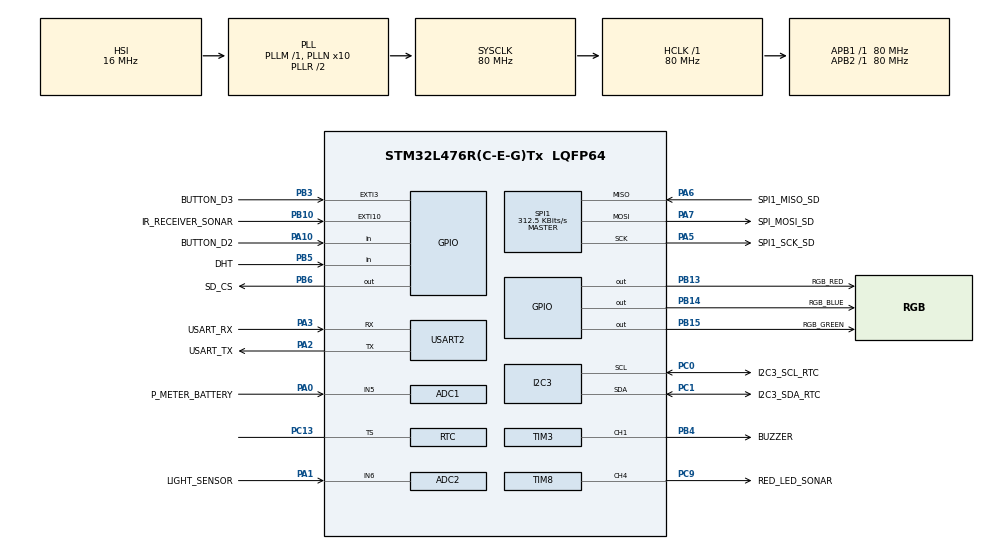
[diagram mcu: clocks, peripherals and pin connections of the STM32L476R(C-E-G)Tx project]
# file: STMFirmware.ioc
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ADC1.Channel-0\#ChannelRegularConversion=ADC_CHANNEL_5
ADC1.NbrOfConversionFlag=1
ADC1.OffsetNumber-0\#ChannelRegularConversion=ADC_OFFSET_NONE
ADC1.Rank-0\#ChannelRegularConversion=1
ADC1.SamplingTime-0\#ChannelRegularConversion=ADC_SAMPLETIME_2CYCLES_5
ADC1.master=1
ADC2.Channel-0\#ChannelRegularConversion=ADC_CHANNEL_6
ADC2.NbrOfConversionFlag=1
ADC2.OffsetNumber-0\#ChannelRegularConversion=ADC_OFFSET_NONE
ADC2.Rank-0\#ChannelRegularConversion=1
ADC2.Resolution=ADC_RESOLUTION_8B
ADC2.SamplingTime-0\#ChannelRegularConversion=ADC_SAMPLETIME_2CYCLES_5
FREERTOS.Tasks01=defaultTask,24,128,StartDefaultTask,Default,NULL,Dynamic,NULL,NULL
FREERTOS.configTOTAL_HEAP_SIZE=28000
I2C3.Timing=0x10D19CE4
IWDG.Prescaler=IWDG_PRESCALER_32
Mcu.Family=STM32L4
Mcu.Name=STM32L476R(C-E-G)Tx
Mcu.Package=LQFP64
NVIC.EXTI15_10_IRQn=true\:5\:0\:false\:false\:true\:true\:true\:true\:true
NVIC.EXTI3_IRQn=true\:5\:0\:false\:false\:true\:true\:true\:true\:true
NVIC.PriorityGroup=NVIC_PRIORITYGROUP_4
NVIC.TIM3_IRQn=true\:5\:0\:false\:false\:true\:true\:true\:true\:true
NVIC.TIM5_IRQn=true\:5\:0\:false\:false\:true\:true\:true\:true\:true
NVIC.USART2_IRQn=true\:5\:0\:false\:false\:true\:true\:true\:true\:true
PA0.GPIO_Label=P_METER_BATTERY
PA0.Signal=ADCx_IN5
PA1.GPIO_Label=LIGHT_SENSOR
PA1.Signal=ADCx_IN6
PA10.GPIO_Label=BUTTON_D2
PA10.Signal=GPIO_Input
PA13\ (JTMS-SWDIO).GPIO_Label=TMS
PA13\ (JTMS-SWDIO).Mode=Serial_Wire
PA13\ (JTMS-SWDIO).Signal=SYS_JTMS-SWDIO
PA14\ (JTCK-SWCLK).GPIO_Label=TCK
PA14\ (JTCK-SWCLK).Mode=Serial_Wire
PA14\ (JTCK-SWCLK).Signal=SYS_JTCK-SWCLK
PA2.GPIO_Label=USART_TX
PA2.GPIO_Mode=GPIO_MODE_AF_PP
PA2.GPIO_PuPd=GPIO_NOPULL
PA2.GPIO_Speed=GPIO_SPEED_FREQ_VERY_HIGH
PA2.Mode=Asynchronous
PA2.Signal=USART2_TX
PA3.GPIO_Label=USART_RX
PA3.GPIO_Mode=GPIO_MODE_AF_PP
PA3.GPIO_PuPd=GPIO_NOPULL
PA3.GPIO_Speed=GPIO_SPEED_FREQ_VERY_HIGH
PA3.Mode=Asynchronous
PA3.Signal=USART2_RX
PA5.GPIO_Label=SPI1_SCK_SD
PA5.GPIO_Speed=GPIO_SPEED_FREQ_VERY_HIGH
PA5.Mode=Full_Duplex_Master
PA5.Signal=SPI1_SCK
PA6.GPIO_Label=SPI1_MISO_SD
PA6.GPIO_PuPd=GPIO_PULLUP
PA6.GPIO_Speed=GPIO_SPEED_FREQ_VERY_HIGH
PA6.Mode=Full_Duplex_Master
PA6.Signal=SPI1_MISO
PA7.GPIO_Label=SPI_MOSI_SD
PA7.GPIO_Speed=GPIO_SPEED_FREQ_VERY_HIGH
PA7.Mode=Full_Duplex_Master
PA7.Signal=SPI1_MOSI
PB10.GPIO_Label=IR_RECEIVER_SONAR
PB10.GPIO_ModeDefaultEXTI=GPIO_MODE_IT_RISING_FALLING
PB10.Signal=GPXTI10
PB13.GPIO_Label=RGB_RED
PB13.Signal=GPIO_Output
PB14.GPIO_Label=RGB_BLUE
PB14.Signal=GPIO_Output
PB15.GPIO_Label=RGB_GREEN
PB15.Signal=GPIO_Output
PB3\ (JTDO-TRACESWO).GPIO_Label=BUTTON_D3
PB3\ (JTDO-TRACESWO).Signal=GPXTI3
PB4\ (NJTRST).GPIO_Label=BUZZER
PB4\ (NJTRST).Signal=S_TIM3_CH1
PB5.GPIO_Label=DHT
PB5.Signal=GPIO_Input
PB6.GPIO_Label=SD_CS
PB6.PinState=GPIO_PIN_SET
PB6.Signal=GPIO_Output
PC0.GPIO_Label=I2C3_SCL_RTC
PC0.Mode=I2C
PC0.Signal=I2C3_SCL
PC1.GPIO_Label=I2C3_SDA_RTC
PC1.Mode=I2C
PC1.Signal=I2C3_SDA
PC13.Mode=Timestamp enabled
PC13.Signal=RTC_TS
PC14-OSC32_IN\ (PC14).Mode=LSE-External-Oscillator
PC14-OSC32_IN\ (PC14).Signal=RCC_OSC32_IN
PC15-OSC32_OUT\ (PC15).Mode=LSE-External-Oscillator
PC15-OSC32_OUT\ (PC15).Signal=RCC_OSC32_OUT
PC9.GPIO_Label=RED_LED_SONAR
PC9.Signal=S_TIM8_CH4
PH0-OSC_IN\ (PH0).Signal=RCC_OSC_IN
PH1-OSC_OUT\ (PH1).Signal=RCC_OSC_OUT
ProjectManager.HeapSize=0x200
ProjectManager.StackSize=0x400
ProjectManager.TargetToolchain=STM32CubeIDE
RCC.ADCFreq_Value=64000000
RCC.AHBFreq_Value=80000000
RCC.APB1Freq_Value=80000000
RCC.APB1TimFreq_Value=80000000
RCC.APB2Freq_Value=80000000
RCC.APB2TimFreq_Value=80000000
RCC.CortexFreq_Value=80000000
RCC.HCLKFreq_Value=80000000
RCC.HSE_VALUE=8000000
RCC.HSI_VALUE=16000000
RCC.MSI_VALUE=4000000
RCC.PLLN=10
RCC.PLLSourceVirtual=RCC_PLLSOURCE_HSI
RCC.PREFETCH_ENABLE=1
RCC.SYSCLKFreq_VALUE=80000000
RCC.SYSCLKSource=RCC_SYSCLKSOURCE_PLLCLK
RCC.USBFreq_Value=64000000
RCC.VCOOutputFreq_Value=160000000
SH.ADCx_IN5.0=ADC1_IN5,IN5-Single-Ended
SH.ADCx_IN6.0=ADC1_IN6
SH.ADCx_IN6.1=ADC2_IN6,IN6-Single-Ended
SH.S_TIM3_CH1.0=TIM3_CH1,PWM Generation1 CH1
SH.S_TIM8_CH4.0=TIM8_CH4,PWM Generation4 CH4
SPI1.BaudRatePrescaler=SPI_BAUDRATEPRESCALER_256
SPI1.CalculateBaudRate=312.5 KBits/s
SPI1.DataSize=SPI_DATASIZE_8BIT
SPI1.Direction=SPI_DIRECTION_2LINES
SPI1.Mode=SPI_MODE_MASTER
SPI1.VirtualType=VM_MASTER
TIM2.Prescaler=79
TIM3.Channel-PWM\ Generation1\ CH1=TIM_CHANNEL_1
TIM3.Period=999
TIM3.Prescaler=79
TIM3.Pulse-PWM\ Generation1\ CH1=9
TIM5.Period=99999
TIM5.Prescaler=7999
TIM8.Channel-PWM\ Generation4\ CH4=TIM_CHANNEL_4
TIM8.Period=999
TIM8.Prescaler=7
USART2.VirtualMode-Asynchronous=VM_ASYNC
VP_FATFS_VS_Generic.Mode=User_defined
VP_FREERTOS_VS_CMSIS_V2.Mode=CMSIS_V2
VP_IWDG_VS_IWDG.Mode=IWDG_Activate
VP_RTC_VS_RTC_Activate.Mode=RTC_Enabled
VP_RTC_VS_RTC_Calendar.Mode=RTC_Calendar
VP_TIM2_VS_ClockSourceINT.Mode=Internal
VP_TIM5_VS_ClockSourceINT.Mode=Internal
VP_TIM6_VS_ClockSourceINT.Mode=Enable_Timer
board=NUCLEO-L476RG

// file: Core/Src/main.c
/* USER CODE BEGIN Header */
/**
  ******************************************************************************
  * @file           : main.c
  * @brief          : Main program body
  ******************************************************************************
  * @attention
  *
  * Copyright (c) 2026 STMicroelectronics.
  * All rights reserved.
  *
  * This software is licensed under terms that can be found in the LICENSE file
  * in the root directory of this software component.
  * If no LICENSE file comes with this software, it is provided AS-IS.
  *
  ******************************************************************************
  */
/* USER CODE END Header */
#include "main.h"
#include "cmsis_os.h"
#include "fatfs.h"

/* USER CODE BEGIN Includes */
#include "tlv.h"
#include "communication.h"
#include "init.h"
#include "sdfatfs.h"
#include <stdio.h>
/* USER CODE END Includes */

ADC_HandleTypeDef hadc1;
ADC_HandleTypeDef hadc2;

I2C_HandleTypeDef hi2c3;

IWDG_HandleTypeDef hiwdg;

RTC_HandleTypeDef hrtc;

SPI_HandleTypeDef hspi1;

TIM_HandleTypeDef htim2;
TIM_HandleTypeDef htim3;
TIM_HandleTypeDef htim5;
TIM_HandleTypeDef htim6;
TIM_HandleTypeDef htim8;

UART_HandleTypeDef huart2;

/* Definitions for defaultTask */
osThreadId_t defaultTaskHandle;
const osThreadAttr_t defaultTask_attributes = {
  .name = "defaultTask",
  .stack_size = 128 * 4,
  .priority = (osPriority_t) osPriorityNormal,
};
/* USER CODE BEGIN PV */
Communication *g_comm;
/* USER CODE END PV */

void SystemClock_Config(void);
void PeriphCommonClock_Config(void);
static void MX_GPIO_Init(void);
static void MX_USART2_UART_Init(void);
static void MX_SPI1_Init(void);
static void MX_ADC1_Init(void);
static void MX_ADC2_Init(void);
static void MX_I2C3_Init(void);
static void MX_TIM3_Init(void);
static void MX_TIM2_Init(void);
static void MX_RTC_Init(void);
static void MX_TIM5_Init(void);
static void MX_TIM6_Init(void);
static void MX_TIM8_Init(void);
static void MX_IWDG_Init(void);
void StartDefaultTask(void *argument);

int main(void)
{

  /* MCU Configuration--------------------------------------------------------*/

  /* Reset of all peripherals, Initializes the Flash interface and the Systick. */
  HAL_Init();

  /* Configure the system clock */
  SystemClock_Config();

  /* Configure the peripherals common clocks */
  PeriphCommonClock_Config();

  /* Initialize all configured peripherals */
  MX_GPIO_Init();
  MX_USART2_UART_Init();
  MX_SPI1_Init();
  MX_ADC1_Init();
  MX_ADC2_Init();
  MX_I2C3_Init();
  MX_TIM3_Init();
  MX_TIM2_Init();
  MX_FATFS_Init();
  MX_RTC_Init();
  MX_TIM5_Init();
  MX_TIM6_Init();
  MX_TIM8_Init();
  MX_IWDG_Init();
  /* USER CODE BEGIN 2 */
  HAL_TIM_Base_Start(&htim2);

  /* USER CODE END 2 */

  /* Init scheduler */
  osKernelInitialize();

  /* Create the thread(s) */
  /* creation of defaultTask */
  defaultTaskHandle = osThreadNew(StartDefaultTask, NULL, &defaultTask_attributes);

  /* USER CODE BEGIN RTOS_THREADS */
  SDFatFS_Init();

  g_comm = communication_create();
  if (g_comm == NULL) {
      Error_Handler();
  }
//
//  {
//      uint8_t dummy_payload[1] = { 0 };
//      (void)comm_send(g_comm, TLV_TAG_KEEP_ALIVE, dummy_payload, sizeof(dummy_payload));
//  }

  /* Init starts everything else (Event, Log, Configuration, Monitor)
   * internally -- section 2.7's "starts all system activities". */
  {
      Init *init = init_create(g_comm);
      if (init == NULL) {
          Error_Handler();
      }
  }

  /* add threads, ... */
  /* USER CODE END RTOS_THREADS */

  /* Start scheduler */
  osKernelStart();

  /* We should never get here as control is now taken by the scheduler */

  /* Infinite loop */
  while (1)
  {

  }
}

void SystemClock_Config(void)
{
  RCC_OscInitTypeDef RCC_OscInitStruct = {0};
  RCC_ClkInitTypeDef RCC_ClkInitStruct = {0};

  /** Configure the main internal regulator output voltage
  */
  if (HAL_PWREx_ControlVoltageScaling(PWR_REGULATOR_VOLTAGE_SCALE1) != HAL_OK)
  {
    Error_Handler();
  }

  /** Initializes the RCC Oscillators according to the specified parameters
  * in the RCC_OscInitTypeDef structure.
  */
  RCC_OscInitStruct.OscillatorType = RCC_OSCILLATORTYPE_HSI|RCC_OSCILLATORTYPE_LSI;
  RCC_OscInitStruct.HSIState = RCC_HSI_ON;
  RCC_OscInitStruct.HSICalibrationValue = RCC_HSICALIBRATION_DEFAULT;
  RCC_OscInitStruct.LSIState = RCC_LSI_ON;
  RCC_OscInitStruct.PLL.PLLState = RCC_PLL_ON;
  RCC_OscInitStruct.PLL.PLLSource = RCC_PLLSOURCE_HSI;
  RCC_OscInitStruct.PLL.PLLM = 1;
  RCC_OscInitStruct.PLL.PLLN = 10;
  RCC_OscInitStruct.PLL.PLLP = RCC_PLLP_DIV7;
  RCC_OscInitStruct.PLL.PLLQ = RCC_PLLQ_DIV2;
  RCC_OscInitStruct.PLL.PLLR = RCC_PLLR_DIV2;
  if (HAL_RCC_OscConfig(&RCC_OscInitStruct) != HAL_OK)
  {
    Error_Handler();
  }

  /** Initializes the CPU, AHB and APB buses clocks
  */
  RCC_ClkInitStruct.ClockType = RCC_CLOCKTYPE_HCLK|RCC_CLOCKTYPE_SYSCLK
                              |RCC_CLOCKTYPE_PCLK1|RCC_CLOCKTYPE_PCLK2;
  RCC_ClkInitStruct.SYSCLKSource = RCC_SYSCLKSOURCE_PLLCLK;
  RCC_ClkInitStruct.AHBCLKDivider = RCC_SYSCLK_DIV1;
  RCC_ClkInitStruct.APB1CLKDivider = RCC_HCLK_DIV1;
  RCC_ClkInitStruct.APB2CLKDivider = RCC_HCLK_DIV1;

  if (HAL_RCC_ClockConfig(&RCC_ClkInitStruct, FLASH_LATENCY_4) != HAL_OK)
  {
    Error_Handler();
  }
}

void PeriphCommonClock_Config(void)
{
  RCC_PeriphCLKInitTypeDef PeriphClkInit = {0};

  /** Initializes the peripherals clock
  */
  PeriphClkInit.PeriphClockSelection = RCC_PERIPHCLK_ADC;
  PeriphClkInit.AdcClockSelection = RCC_ADCCLKSOURCE_PLLSAI1;
  PeriphClkInit.PLLSAI1.PLLSAI1Source = RCC_PLLSOURCE_HSI;
  PeriphClkInit.PLLSAI1.PLLSAI1M = 1;
  PeriphClkInit.PLLSAI1.PLLSAI1N = 8;
  PeriphClkInit.PLLSAI1.PLLSAI1P = RCC_PLLP_DIV7;
  PeriphClkInit.PLLSAI1.PLLSAI1Q = RCC_PLLQ_DIV2;
  PeriphClkInit.PLLSAI1.PLLSAI1R = RCC_PLLR_DIV2;
  PeriphClkInit.PLLSAI1.PLLSAI1ClockOut = RCC_PLLSAI1_ADC1CLK;
  if (HAL_RCCEx_PeriphCLKConfig(&PeriphClkInit) != HAL_OK)
  {
    Error_Handler();
  }
}

static void MX_ADC1_Init(void)
{

  ADC_MultiModeTypeDef multimode = {0};
  ADC_ChannelConfTypeDef sConfig = {0};

  /** Common config
  */
  hadc1.Instance = ADC1;
  hadc1.Init.ClockPrescaler = ADC_CLOCK_ASYNC_DIV1;
  hadc1.Init.Resolution = ADC_RESOLUTION_12B;
  hadc1.Init.DataAlign = ADC_DATAALIGN_RIGHT;
  hadc1.Init.ScanConvMode = ADC_SCAN_DISABLE;
  hadc1.Init.EOCSelection = ADC_EOC_SINGLE_CONV;
  hadc1.Init.LowPowerAutoWait = DISABLE;
  hadc1.Init.ContinuousConvMode = DISABLE;
  hadc1.Init.NbrOfConversion = 1;
  hadc1.Init.DiscontinuousConvMode = DISABLE;
  hadc1.Init.ExternalTrigConv = ADC_SOFTWARE_START;
  hadc1.Init.ExternalTrigConvEdge = ADC_EXTERNALTRIGCONVEDGE_NONE;
  hadc1.Init.DMAContinuousRequests = DISABLE;
  hadc1.Init.Overrun = ADC_OVR_DATA_PRESERVED;
  hadc1.Init.OversamplingMode = DISABLE;
  if (HAL_ADC_Init(&hadc1) != HAL_OK)
  {
    Error_Handler();
  }

  /** Configure the ADC multi-mode
  */
  multimode.Mode = ADC_MODE_INDEPENDENT;
  if (HAL_ADCEx_MultiModeConfigChannel(&hadc1, &multimode) != HAL_OK)
  {
    Error_Handler();
  }

  /** Configure Regular Channel
  */
  sConfig.Channel = ADC_CHANNEL_5;
  sConfig.Rank = ADC_REGULAR_RANK_1;
  sConfig.SamplingTime = ADC_SAMPLETIME_2CYCLES_5;
  sConfig.SingleDiff = ADC_SINGLE_ENDED;
  sConfig.OffsetNumber = ADC_OFFSET_NONE;
  sConfig.Offset = 0;
  if (HAL_ADC_ConfigChannel(&hadc1, &sConfig) != HAL_OK)
  {
    Error_Handler();
  }

}

static void MX_ADC2_Init(void)
{

  ADC_ChannelConfTypeDef sConfig = {0};

  /** Common config
  */
  hadc2.Instance = ADC2;
  hadc2.Init.ClockPrescaler = ADC_CLOCK_ASYNC_DIV1;
  hadc2.Init.Resolution = ADC_RESOLUTION_8B;
  hadc2.Init.DataAlign = ADC_DATAALIGN_RIGHT;
  hadc2.Init.ScanConvMode = ADC_SCAN_DISABLE;
  hadc2.Init.EOCSelection = ADC_EOC_SINGLE_CONV;
  hadc2.Init.LowPowerAutoWait = DISABLE;
  hadc2.Init.ContinuousConvMode = DISABLE;
  hadc2.Init.NbrOfConversion = 1;
  hadc2.Init.DiscontinuousConvMode = DISABLE;
  hadc2.Init.ExternalTrigConv = ADC_SOFTWARE_START;
  hadc2.Init.ExternalTrigConvEdge = ADC_EXTERNALTRIGCONVEDGE_NONE;
  hadc2.Init.DMAContinuousRequests = DISABLE;
  hadc2.Init.Overrun = ADC_OVR_DATA_PRESERVED;
  hadc2.Init.OversamplingMode = DISABLE;
  if (HAL_ADC_Init(&hadc2) != HAL_OK)
  {
    Error_Handler();
  }

  /** Configure Regular Channel
  */
  sConfig.Channel = ADC_CHANNEL_6;
  sConfig.Rank = ADC_REGULAR_RANK_1;
  sConfig.SamplingTime = ADC_SAMPLETIME_2CYCLES_5;
  sConfig.SingleDiff = ADC_SINGLE_ENDED;
  sConfig.OffsetNumber = ADC_OFFSET_NONE;
  sConfig.Offset = 0;
  if (HAL_ADC_ConfigChannel(&hadc2, &sConfig) != HAL_OK)
  {
    Error_Handler();
  }

}

static void MX_I2C3_Init(void)
{

  hi2c3.Instance = I2C3;
  hi2c3.Init.Timing = 0x10D19CE4;
  hi2c3.Init.OwnAddress1 = 0;
  hi2c3.Init.AddressingMode = I2C_ADDRESSINGMODE_7BIT;
  hi2c3.Init.DualAddressMode = I2C_DUALADDRESS_DISABLE;
  hi2c3.Init.OwnAddress2 = 0;
  hi2c3.Init.OwnAddress2Masks = I2C_OA2_NOMASK;
  hi2c3.Init.GeneralCallMode = I2C_GENERALCALL_DISABLE;
  hi2c3.Init.NoStretchMode = I2C_NOSTRETCH_DISABLE;
  if (HAL_I2C_Init(&hi2c3) != HAL_OK)
  {
    Error_Handler();
  }

  /** Configure Analogue filter
  */
  if (HAL_I2CEx_ConfigAnalogFilter(&hi2c3, I2C_ANALOGFILTER_ENABLE) != HAL_OK)
  {
    Error_Handler();
  }

  /** Configure Digital filter
  */
  if (HAL_I2CEx_ConfigDigitalFilter(&hi2c3, 0) != HAL_OK)
  {
    Error_Handler();
  }

}

static void MX_IWDG_Init(void)
{

  hiwdg.Instance = IWDG;
  hiwdg.Init.Prescaler = IWDG_PRESCALER_32;
  hiwdg.Init.Window = 4095;
  hiwdg.Init.Reload = 4095;
  if (HAL_IWDG_Init(&hiwdg) != HAL_OK)
  {
    Error_Handler();
  }

}

static void MX_RTC_Init(void)
{

  RTC_TimeTypeDef sTime = {0};
  RTC_DateTypeDef sDate = {0};

  /** Initialize RTC Only
  */
  hrtc.Instance = RTC;
  hrtc.Init.HourFormat = RTC_HOURFORMAT_24;
  hrtc.Init.AsynchPrediv = 127;
  hrtc.Init.SynchPrediv = 255;
  hrtc.Init.OutPut = RTC_OUTPUT_DISABLE;
  hrtc.Init.OutPutRemap = RTC_OUTPUT_REMAP_NONE;
  hrtc.Init.OutPutPolarity = RTC_OUTPUT_POLARITY_HIGH;
  hrtc.Init.OutPutType = RTC_OUTPUT_TYPE_OPENDRAIN;
  if (HAL_RTC_Init(&hrtc) != HAL_OK)
  {
    Error_Handler();
  }

  /** Initialize RTC and set the Time and Date
  */
  sTime.Hours = 0x0;
  sTime.Minutes = 0x0;
  sTime.Seconds = 0x0;
  sTime.DayLightSaving = RTC_DAYLIGHTSAVING_NONE;
  sTime.StoreOperation = RTC_STOREOPERATION_RESET;
  if (HAL_RTC_SetTime(&hrtc, &sTime, RTC_FORMAT_BCD) != HAL_OK)
  {
    Error_Handler();
  }
  sDate.WeekDay = RTC_WEEKDAY_MONDAY;
  sDate.Month = RTC_MONTH_JANUARY;
  sDate.Date = 0x1;
  sDate.Year = 0x0;

  if (HAL_RTC_SetDate(&hrtc, &sDate, RTC_FORMAT_BCD) != HAL_OK)
  {
    Error_Handler();
  }

  /** Enable the TimeStamp
  */
  if (HAL_RTCEx_SetTimeStamp(&hrtc, RTC_TIMESTAMPEDGE_RISING, RTC_TIMESTAMPPIN_DEFAULT) != HAL_OK)
  {
    Error_Handler();
  }

}

static void MX_SPI1_Init(void)
{

  /* SPI1 parameter configuration*/
  hspi1.Instance = SPI1;
  hspi1.Init.Mode = SPI_MODE_MASTER;
  hspi1.Init.Direction = SPI_DIRECTION_2LINES;
  hspi1.Init.DataSize = SPI_DATASIZE_8BIT;
  hspi1.Init.CLKPolarity = SPI_POLARITY_LOW;
  hspi1.Init.CLKPhase = SPI_PHASE_1EDGE;
  hspi1.Init.NSS = SPI_NSS_SOFT;
  hspi1.Init.BaudRatePrescaler = SPI_BAUDRATEPRESCALER_256;
  hspi1.Init.FirstBit = SPI_FIRSTBIT_MSB;
  hspi1.Init.TIMode = SPI_TIMODE_DISABLE;
  hspi1.Init.CRCCalculation = SPI_CRCCALCULATION_DISABLE;
  hspi1.Init.CRCPolynomial = 7;
  hspi1.Init.CRCLength = SPI_CRC_LENGTH_DATASIZE;
  hspi1.Init.NSSPMode = SPI_NSS_PULSE_ENABLE;
  if (HAL_SPI_Init(&hspi1) != HAL_OK)
  {
    Error_Handler();
  }

}

static void MX_TIM2_Init(void)
{

  TIM_ClockConfigTypeDef sClockSourceConfig = {0};
  TIM_MasterConfigTypeDef sMasterConfig = {0};

  htim2.Instance = TIM2;
  htim2.Init.Prescaler = 79;
  htim2.Init.CounterMode = TIM_COUNTERMODE_UP;
  htim2.Init.Period = 4294967295;
  htim2.Init.ClockDivision = TIM_CLOCKDIVISION_DIV1;
  htim2.Init.AutoReloadPreload = TIM_AUTORELOAD_PRELOAD_DISABLE;
  if (HAL_TIM_Base_Init(&htim2) != HAL_OK)
  {
    Error_Handler();
  }
  sClockSourceConfig.ClockSource = TIM_CLOCKSOURCE_INTERNAL;
  if (HAL_TIM_ConfigClockSource(&htim2, &sClockSourceConfig) != HAL_OK)
  {
    Error_Handler();
  }
  sMasterConfig.MasterOutputTrigger = TIM_TRGO_RESET;
  sMasterConfig.MasterSlaveMode = TIM_MASTERSLAVEMODE_DISABLE;
  if (HAL_TIMEx_MasterConfigSynchronization(&htim2, &sMasterConfig) != HAL_OK)
  {
    Error_Handler();
  }

}

static void MX_TIM3_Init(void)
{

  TIM_MasterConfigTypeDef sMasterConfig = {0};
  TIM_OC_InitTypeDef sConfigOC = {0};

  htim3.Instance = TIM3;
  htim3.Init.Prescaler = 79;
  htim3.Init.CounterMode = TIM_COUNTERMODE_UP;
  htim3.Init.Period = 999;
  htim3.Init.ClockDivision = TIM_CLOCKDIVISION_DIV1;
  htim3.Init.AutoReloadPreload = TIM_AUTORELOAD_PRELOAD_DISABLE;
  if (HAL_TIM_PWM_Init(&htim3) != HAL_OK)
  {
    Error_Handler();
  }
  sMasterConfig.MasterOutputTrigger = TIM_TRGO_RESET;
  sMasterConfig.MasterSlaveMode = TIM_MASTERSLAVEMODE_DISABLE;
  if (HAL_TIMEx_MasterConfigSynchronization(&htim3, &sMasterConfig) != HAL_OK)
  {
    Error_Handler();
  }
  sConfigOC.OCMode = TIM_OCMODE_PWM1;
  sConfigOC.Pulse = 9;
  sConfigOC.OCPolarity = TIM_OCPOLARITY_HIGH;
  sConfigOC.OCFastMode = TIM_OCFAST_DISABLE;
  if (HAL_TIM_PWM_ConfigChannel(&htim3, &sConfigOC, TIM_CHANNEL_1) != HAL_OK)
  {
    Error_Handler();
  }
  HAL_TIM_MspPostInit(&htim3);

}

static void MX_TIM5_Init(void)
{

  TIM_ClockConfigTypeDef sClockSourceConfig = {0};
  TIM_MasterConfigTypeDef sMasterConfig = {0};

  htim5.Instance = TIM5;
  htim5.Init.Prescaler = 7999;
  htim5.Init.CounterMode = TIM_COUNTERMODE_UP;
  htim5.Init.Period = 99999;
  htim5.Init.ClockDivision = TIM_CLOCKDIVISION_DIV1;
  htim5.Init.AutoReloadPreload = TIM_AUTORELOAD_PRELOAD_DISABLE;
  if (HAL_TIM_Base_Init(&htim5) != HAL_OK)
  {
    Error_Handler();
  }
  sClockSourceConfig.ClockSource = TIM_CLOCKSOURCE_INTERNAL;
  if (HAL_TIM_ConfigClockSource(&htim5, &sClockSourceConfig) != HAL_OK)
  {
    Error_Handler();
  }
  sMasterConfig.MasterOutputTrigger = TIM_TRGO_RESET;
  sMasterConfig.MasterSlaveMode = TIM_MASTERSLAVEMODE_DISABLE;
  if (HAL_TIMEx_MasterConfigSynchronization(&htim5, &sMasterConfig) != HAL_OK)
  {
    Error_Handler();
  }

}

static void MX_TIM6_Init(void)
{

  TIM_MasterConfigTypeDef sMasterConfig = {0};

  htim6.Instance = TIM6;
  htim6.Init.Prescaler = 0;
  htim6.Init.CounterMode = TIM_COUNTERMODE_UP;
  htim6.Init.Period = 65535;
  htim6.Init.AutoReloadPreload = TIM_AUTORELOAD_PRELOAD_DISABLE;
  if (HAL_TIM_Base_Init(&htim6) != HAL_OK)
  {
    Error_Handler();
  }
  sMasterConfig.MasterOutputTrigger = TIM_TRGO_RESET;
  sMasterConfig.MasterSlaveMode = TIM_MASTERSLAVEMODE_DISABLE;
  if (HAL_TIMEx_MasterConfigSynchronization(&htim6, &sMasterConfig) != HAL_OK)
  {
    Error_Handler();
  }

}

static void MX_TIM8_Init(void)
{

  TIM_MasterConfigTypeDef sMasterConfig = {0};
  TIM_OC_InitTypeDef sConfigOC = {0};
  TIM_BreakDeadTimeConfigTypeDef sBreakDeadTimeConfig = {0};

  htim8.Instance = TIM8;
  htim8.Init.Prescaler = 7;
  htim8.Init.CounterMode = TIM_COUNTERMODE_UP;
  htim8.Init.Period = 999;
  htim8.Init.ClockDivision = TIM_CLOCKDIVISION_DIV1;
  htim8.Init.RepetitionCounter = 0;
  htim8.Init.AutoReloadPreload = TIM_AUTORELOAD_PRELOAD_DISABLE;
  if (HAL_TIM_PWM_Init(&htim8) != HAL_OK)
  {
    Error_Handler();
  }
  sMasterConfig.MasterOutputTrigger = TIM_TRGO_RESET;
  sMasterConfig.MasterOutputTrigger2 = TIM_TRGO2_RESET;
  sMasterConfig.MasterSlaveMode = TIM_MASTERSLAVEMODE_DISABLE;
  if (HAL_TIMEx_MasterConfigSynchronization(&htim8, &sMasterConfig) != HAL_OK)
  {
    Error_Handler();
  }
  sConfigOC.OCMode = TIM_OCMODE_PWM1;
  sConfigOC.Pulse = 0;
  sConfigOC.OCPolarity = TIM_OCPOLARITY_HIGH;
  sConfigOC.OCFastMode = TIM_OCFAST_DISABLE;
  sConfigOC.OCIdleState = TIM_OCIDLESTATE_RESET;
  sConfigOC.OCNIdleState = TIM_OCNIDLESTATE_RESET;
  if (HAL_TIM_PWM_ConfigChannel(&htim8, &sConfigOC, TIM_CHANNEL_4) != HAL_OK)
  {
    Error_Handler();
  }
  sBreakDeadTimeConfig.OffStateRunMode = TIM_OSSR_DISABLE;
  sBreakDeadTimeConfig.OffStateIDLEMode = TIM_OSSI_DISABLE;
  sBreakDeadTimeConfig.LockLevel = TIM_LOCKLEVEL_OFF;
  sBreakDeadTimeConfig.DeadTime = 0;
  sBreakDeadTimeConfig.BreakState = TIM_BREAK_DISABLE;
  sBreakDeadTimeConfig.BreakPolarity = TIM_BREAKPOLARITY_HIGH;
  sBreakDeadTimeConfig.BreakFilter = 0;
  sBreakDeadTimeConfig.Break2State = TIM_BREAK2_DISABLE;
  sBreakDeadTimeConfig.Break2Polarity = TIM_BREAK2POLARITY_HIGH;
  sBreakDeadTimeConfig.Break2Filter = 0;
  sBreakDeadTimeConfig.AutomaticOutput = TIM_AUTOMATICOUTPUT_DISABLE;
  if (HAL_TIMEx_ConfigBreakDeadTime(&htim8, &sBreakDeadTimeConfig) != HAL_OK)
  {
    Error_Handler();
  }
  HAL_TIM_MspPostInit(&htim8);

}

static void MX_USART2_UART_Init(void)
{

  huart2.Instance = USART2;
  huart2.Init.BaudRate = 115200;
  huart2.Init.WordLength = UART_WORDLENGTH_8B;
  huart2.Init.StopBits = UART_STOPBITS_1;
  huart2.Init.Parity = UART_PARITY_NONE;
  huart2.Init.Mode = UART_MODE_TX_RX;
  huart2.Init.HwFlowCtl = UART_HWCONTROL_NONE;
  huart2.Init.OverSampling = UART_OVERSAMPLING_16;
  huart2.Init.OneBitSampling = UART_ONE_BIT_SAMPLE_DISABLE;
  huart2.AdvancedInit.AdvFeatureInit = UART_ADVFEATURE_NO_INIT;
  if (HAL_UART_Init(&huart2) != HAL_OK)
  {
    Error_Handler();
  }

}

static void MX_GPIO_Init(void)
{
  GPIO_InitTypeDef GPIO_InitStruct = {0};

  /* GPIO Ports Clock Enable */
  __HAL_RCC_GPIOC_CLK_ENABLE();
  __HAL_RCC_GPIOH_CLK_ENABLE();
  __HAL_RCC_GPIOA_CLK_ENABLE();
  __HAL_RCC_GPIOB_CLK_ENABLE();

  /*Configure GPIO pin Output Level */
  HAL_GPIO_WritePin(GPIOB, RGB_RED_Pin|RGB_BLUE_Pin|RGB_GREEN_Pin, GPIO_PIN_RESET);

  /*Configure GPIO pin Output Level */
  HAL_GPIO_WritePin(SD_CS_GPIO_Port, SD_CS_Pin, GPIO_PIN_SET);

  /*Configure GPIO pin : IR_RECEIVER_SONAR_Pin */
  GPIO_InitStruct.Pin = IR_RECEIVER_SONAR_Pin;
  GPIO_InitStruct.Mode = GPIO_MODE_IT_RISING_FALLING;
  GPIO_InitStruct.Pull = GPIO_NOPULL;
  HAL_GPIO_Init(IR_RECEIVER_SONAR_GPIO_Port, &GPIO_InitStruct);

  /*Configure GPIO pins : RGB_RED_Pin RGB_BLUE_Pin RGB_GREEN_Pin SD_CS_Pin */
  GPIO_InitStruct.Pin = RGB_RED_Pin|RGB_BLUE_Pin|RGB_GREEN_Pin|SD_CS_Pin;
  GPIO_InitStruct.Mode = GPIO_MODE_OUTPUT_PP;
  GPIO_InitStruct.Pull = GPIO_NOPULL;
  GPIO_InitStruct.Speed = GPIO_SPEED_FREQ_LOW;
  HAL_GPIO_Init(GPIOB, &GPIO_InitStruct);

  /*Configure GPIO pin : BUTTON_D2_Pin */
  GPIO_InitStruct.Pin = BUTTON_D2_Pin;
  GPIO_InitStruct.Mode = GPIO_MODE_INPUT;
  GPIO_InitStruct.Pull = GPIO_NOPULL;
  HAL_GPIO_Init(BUTTON_D2_GPIO_Port, &GPIO_InitStruct);

  /*Configure GPIO pin : BUTTON_D3_Pin */
  GPIO_InitStruct.Pin = BUTTON_D3_Pin;
  GPIO_InitStruct.Mode = GPIO_MODE_IT_RISING;
  GPIO_InitStruct.Pull = GPIO_NOPULL;
  HAL_GPIO_Init(BUTTON_D3_GPIO_Port, &GPIO_InitStruct);

  /*Configure GPIO pin : DHT_Pin */
  GPIO_InitStruct.Pin = DHT_Pin;
  GPIO_InitStruct.Mode = GPIO_MODE_INPUT;
  GPIO_InitStruct.Pull = GPIO_NOPULL;
  HAL_GPIO_Init(DHT_GPIO_Port, &GPIO_InitStruct);

  /* EXTI interrupt init*/
  HAL_NVIC_SetPriority(EXTI3_IRQn, 5, 0);
  HAL_NVIC_EnableIRQ(EXTI3_IRQn);

  HAL_NVIC_SetPriority(EXTI15_10_IRQn, 5, 0);
  HAL_NVIC_EnableIRQ(EXTI15_10_IRQn);

  /* USER CODE BEGIN MX_GPIO_Init_2 */
  HAL_NVIC_SetPriority(EXTI3_IRQn, 5, 0);
  HAL_NVIC_EnableIRQ(EXTI3_IRQn);
  /* USER CODE END MX_GPIO_Init_2 */
}

void StartDefaultTask(void *argument)
{
  for(;;)
  {
    osDelay(1);
  }
}

void Error_Handler(void)
{
  __disable_irq();
  while (1)
  {
  }
}
